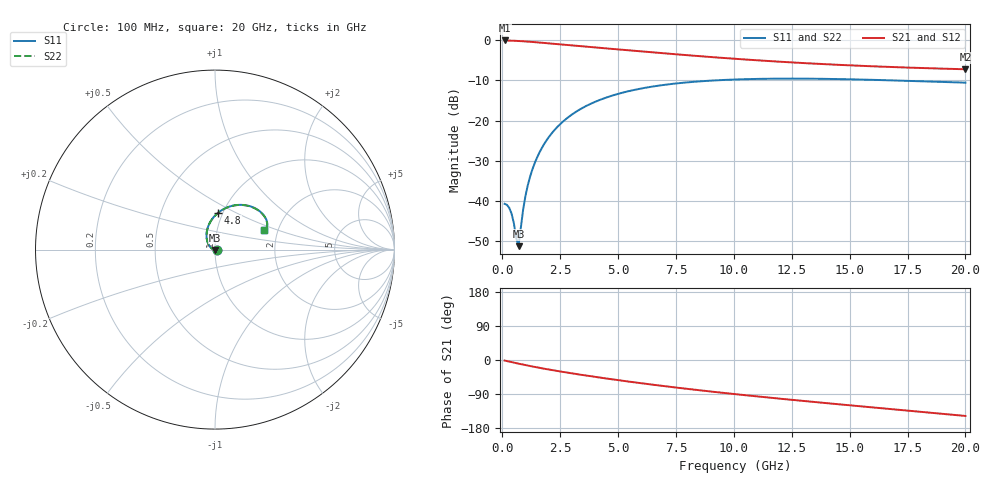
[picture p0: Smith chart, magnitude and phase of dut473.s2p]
! Touchstone file exported from HFSS 2024.1.0
!  File:  C:/UserFiles/LocalFiles/RDL_TSV_Batchsim/temp_RDL_TSV_473_1779730366.aedt
!  Generated:  01:45:46 AM May 26, 2026
!  Design:  RDL_TSV
!  Project:  temp_RDL_TSV_473_1779730366
!  Setup:  Setup1
!  Solution:  Sweep
! Variables:
!  dtsv = 10.71um
!  hbump = 3um
!  htsv = 59.66um
!  ldown = 541.38um
!  lrdl = 121.6um
!  p = 40
!  p1 = 57.59um
!  rhole = 10um
!  subl = 2110.54um
!  t = 450um
!  tdown = 3.3um
!  trdl = 4.23um
!  viad = 10um
!  wdown = 28.9um
!  wrdl = 15.94um
!  xbump = 18um
# GHz S MA R 50.000000
! Terminal data exported
! Port[1] = TM1_1_T1
! Port[2] = TM1_4_T1
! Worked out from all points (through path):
!   200 points, 100 MHz to 20 GHz, reference 50 ohm
!   highest |S21| = -0.09 dB at 100 MHz (marker M1); lowest = -7.2 dB at 20 GHz (marker M2)
!   group delay of S21, straight-line fit = 19.3 ps
!   lowest |S11| = -51.2 dB at 700 MHz (marker M3), VSWR 1.01, Z = 49.9 - j0.253 ohm
!   |S11| at or under -10 dB: start of sweep to 9.223 GHz; 16.77 GHz to end of sweep
!   |S22| runs from -51.2 to -9.6 dB; largest |S21 - S12| = 9.4e-15
!   S11 on the Smith chart (normalised r, x): 100 MHz: 1.02, -0.00; 4.8 GHz: 0.95, +0.41; 20 GHz: 1.69, +0.41
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0.1  0.009246 -2.3  0.9902 -1.4  0.9902 -1.4  0.009247 -2.3
! Gamma 0 0 0 0
! Port Impedance 50 0 50 0
0.3  0.008232 -12.2  0.9869 -4.2  0.9869 -4.2  0.008234 -12.2
0.4  0.006981 -20.3  0.9846 -5.6  0.9846 -5.6  0.006985 -20.3
0.5  0.005302 -32.5  0.9819 -6.9  0.9819 -6.9  0.00531 -32.5
0.6  0.003481 -56.7  0.9789 -8.3  0.9789 -8.3  0.00349 -56.6
0.7  0.002749 -112.4  0.9755 -9.6  0.9755 -9.6  0.002747 -112.1
0.9  0.007821 -177.5  0.9676 -12.2  0.9676 -12.2  0.007796 -177.4
1  0.01156 172.5  0.9633 -13.4  0.9633 -13.4  0.01152 172.5
1.1  0.01566 165.6  0.9587 -14.7  0.9587 -14.7  0.01562 165.6
1.2  0.02006 160.3  0.9539 -15.9  0.9539 -15.9  0.02002 160.3
1.5  0.03465 148.2  0.9387 -19.5  0.9387 -19.5  0.03458 148.2
1.9  0.05621 136.0  0.9173 -24.0  0.9173 -24.0  0.0561 136.0
2.3  0.07889 126.0  0.8959 -28.2  0.8959 -28.2  0.07875 126.0
2.8  0.1074 115.4  0.8698 -33.2  0.8698 -33.2  0.1072 115.4
3.5  0.1455 103.0  0.8351 -39.9  0.8351 -39.9  0.1452 103.0
4.8  0.2066 85.0  0.7752 -51.4  0.7752 -51.4  0.2062 85.0
6.8  0.273 65.1  0.6926 -67.5  0.6926 -67.5  0.2725 65.0
8.4  0.3054 53.3  0.6355 -79.1  0.6355 -79.1  0.3047 53.3
10.1  0.3243 43.7  0.5845 -90.4  0.5845 -90.4  0.3236 43.6
13.4  0.3314 30.8  0.5112 -110.4  0.5112 -110.4  0.3304 30.7
16.7  0.3167 23.7  0.4642 -129.1  0.4642 -129.1  0.3155 23.7
20  0.2961 22.0  0.4343 -147.6  0.4343 -147.6  0.2947 22.0
